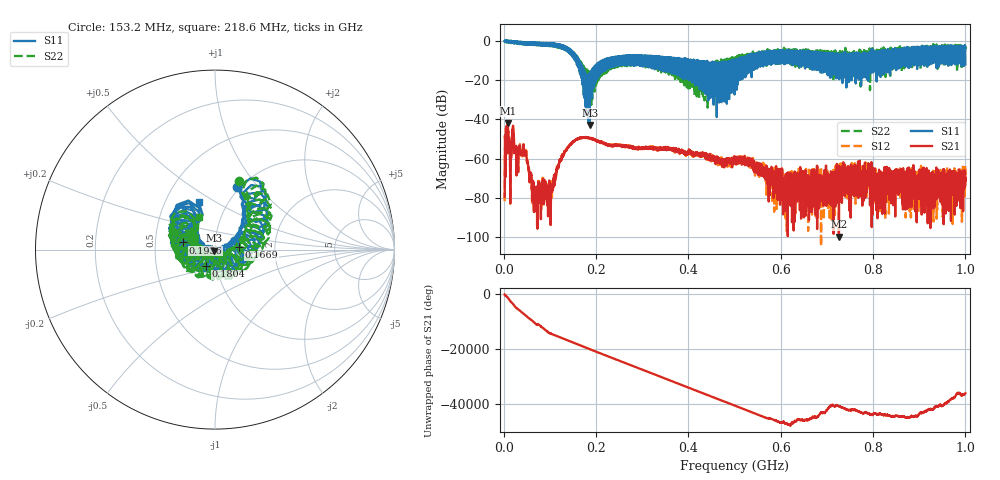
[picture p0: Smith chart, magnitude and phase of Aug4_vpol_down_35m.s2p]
!Keysight Technologies N9923A: A.12.45
!Date: Tuesday, 05 August 2025 20:59:37
!Timezone: (UTC+08:00) Kuala Lumpur, Singapore
!Model: N9923A
!Serial: MY61181427
!GPS Latitude:
!GPS Longitude:
!GPS TimeStamp: 0001-01-01 00:00:00Z
!GPS Seconds Since Last Read: 0
!CHECKSUM:1860203379
!Correction: S11(ON U)S21(ON U)S12(ON U)S22(ON U)
!S2P File: Measurements:S11,S21,S12,S22:
# Hz S DB R 50
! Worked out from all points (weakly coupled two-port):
!   4001 points, 2 MHz to 1 GHz, reference 50 ohm
!   highest |S21| = -41.86 dB at 8.736 MHz (marker M1); lowest = -99.8 dB at 726 MHz (marker M2)
!   lowest |S11| = -42.8 dB at 186.4 MHz (marker M3), VSWR 1.01, Z = 49.6 - j0.607 ohm
!   |S11| at or under -10 dB: 162.8 MHz to 213.8 MHz (51.03 MHz wide, 27.1 % of centre); 412.3 MHz to 417.2 MHz (4.907 MHz wide, 1.18 % of centre); 420.7 MHz to 494 MHz (73.32 MHz wide, 16 % of centre)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
!   |S22| runs from -34.0 to 0.1 dB; largest |S21 - S12| = 0.00099
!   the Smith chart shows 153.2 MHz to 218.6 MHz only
!   S11 on the Smith chart (normalised r, x): 153.2 MHz: 0.96, +0.78; 166.9 MHz: 1.30, +0.03; 180.4 MHz: 0.89, -0.17; 193.6 MHz: 0.69, +0.06; 218.6 MHz: 0.73, +0.42
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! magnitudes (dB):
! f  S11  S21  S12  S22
! 2 MHz  -0.1  -79.4  -81.7  -0.1
! 8.736 MHz  -0.2  -41.9  -41.9  -0.5
! 46.41 MHz  -1.5  -57.7  -58.1  -1.6
! 69.36 MHz  -1.8  -86.4  -77.4  -1.7
! 100.1 MHz  -2.4  -72.6  -74.6  -2.7
! 125.8 MHz  -2.2  -59.0  -58.7  -2.5
! 153.2 MHz  -8.6  -51.2  -50.8  -7.9
! 166.9 MHz  -17.6  -49.3  -49.1  -15.7
! 168.4 MHz  -18.9  -49.5  -49.2  -16.7
! 180.4 MHz  -19.6  -49.4  -49.4  -19.3
! 186.4 MHz  -42.8  -49.5  -49.4  -21.1
! 193.6 MHz  -14.7  -50.0  -49.9  -18.5
! 218.6 MHz  -11.1  -52.2  -52.2  -13.8
! 334.8 MHz  -8.1  -54.7  -54.9  -9.9
! 445.1 MHz  -17.0  -57.9  -60.0  -21.5
! 501 MHz  -9.8  -60.7  -59.8  -8.9
! 536.4 MHz  -10.5  -63.7  -62.3  -5.9
! 604.5 MHz  -7.0  -72.9  -70.9  -11.6
! 667.4 MHz  -6.2  -65.8  -69.2  -6.2
! 726 MHz  -7.3  -99.8  -66.1  -12.6
! 833.8 MHz  -6.0  -78.5  -71.8  -12.9
! 1 GHz  -12.0  -73.5  -71.1  -4.2
